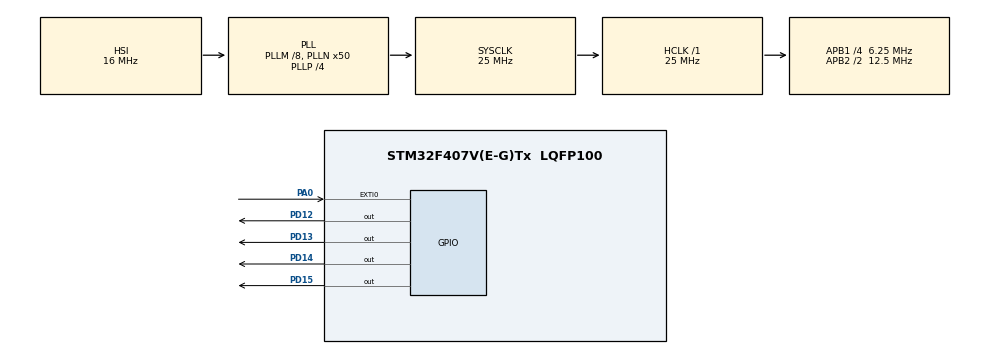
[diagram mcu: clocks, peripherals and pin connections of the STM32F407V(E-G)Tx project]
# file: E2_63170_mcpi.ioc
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Mcu.Family=STM32F4
RCC.CortexFreq_Value=25000000
RCC.APB1CLKDivider=RCC_HCLK_DIV4
RCC.SYSCLKSource=RCC_SYSCLKSOURCE_PLLCLK
ProjectManager.StackSize=0x400
PA0-WKUP.Signal=GPXTI0
VP_TIM7_VS_ClockSourceINT.Mode=Enable_Timer
PD13.Signal=GPIO_Output
ProjectManager.TargetToolchain=STM32CubeIDE
RCC.HCLKFreq_Value=25000000
RCC.APB2TimFreq_Value=25000000
TIM7.Period=4999
RCC.LSE_VALUE=32768
RCC.AHBFreq_Value=25000000
RCC.HSE_VALUE=8000000
TIM7.Prescaler=12499
board=STM32F407G-DISC1
RCC.VCOOutputFreq_Value=100000000
RCC.APB2Freq_Value=12500000
PD13.GPIO_PuPd=GPIO_NOPULL
PD14.GPIO_PuPd=GPIO_NOPULL
Mcu.Name=STM32F407V(E-G)Tx
PD14.Signal=GPIO_Output
RCC.48MHZClocksFreq_Value=14285714.285714285
NVIC.EXTI0_IRQn=true\:0\:0\:false\:false\:true\:true\:true
RCC.SYSCLKFreq_VALUE=25000000
Mcu.Package=LQFP100
PD12.Signal=GPIO_Output
PD15.GPIO_PuPd=GPIO_NOPULL
ProjectManager.HeapSize=0x200
TIM7.AutoReloadPreload=TIM_AUTORELOAD_PRELOAD_ENABLE
RCC.HSI_VALUE=16000000
RCC.PLLP=RCC_PLLP_DIV4
RCC.PLLQ=7
NVIC.PriorityGroup=NVIC_PRIORITYGROUP_0
RCC.APB2CLKDivider=RCC_HCLK_DIV2
RCC.PLLM=8
RCC.PLLN=50
RCC.APB1TimFreq_Value=12500000
RCC.APB1Freq_Value=6250000
PD15.Signal=GPIO_Output
NVIC.TIM7_IRQn=true\:0\:0\:false\:false\:true\:true\:true
PD12.GPIO_PuPd=GPIO_NOPULL

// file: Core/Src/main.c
/* USER CODE BEGIN Header */
/**
  ******************************************************************************
  * @file           : main.c
  * @brief          : Main program body
  ******************************************************************************
  * @attention
  *
  * <h2><center>&copy; Copyright (c) 2022 STMicroelectronics.
  * All rights reserved.</center></h2>
  *
  * This software component is licensed by ST under BSD 3-Clause license,
  * the "License"; You may not use this file except in compliance with the
  * License. You may obtain a copy of the License at:
  *                        opensource.org/licenses/BSD-3-Clause
  *
  ******************************************************************************
  */
/* USER CODE END Header */
#include "main.h"

/* USER CODE BEGIN Includes */
#include<stdio.h>
/* USER CODE END Includes */

TIM_HandleTypeDef htim7;

/* USER CODE BEGIN PV */
volatile int switch_flag = 0;
int counter=0;
/* USER CODE END PV */

void SystemClock_Config(void);
static void MX_GPIO_Init(void);
static void MX_TIM7_Init(void);

/* USER CODE BEGIN 0 */
void pattern1(void)
{
	do
	{
		HAL_GPIO_WritePin(GPIOD, GPIO_PIN_12, GPIO_PIN_SET);
		HAL_GPIO_WritePin(GPIOD, GPIO_PIN_13, GPIO_PIN_SET);
		HAL_GPIO_WritePin(GPIOD, GPIO_PIN_14, GPIO_PIN_SET);
		HAL_GPIO_WritePin(GPIOD, GPIO_PIN_15, GPIO_PIN_SET);

		HAL_Delay(1000);

		HAL_GPIO_WritePin(GPIOD, GPIO_PIN_12, GPIO_PIN_RESET);
		HAL_GPIO_WritePin(GPIOD, GPIO_PIN_13, GPIO_PIN_RESET);
		HAL_GPIO_WritePin(GPIOD, GPIO_PIN_14, GPIO_PIN_RESET);
		HAL_GPIO_WritePin(GPIOD, GPIO_PIN_15, GPIO_PIN_RESET);
	}while(counter !=1);
}

void pattern2(void)
{
	do
	{
		HAL_GPIO_WritePin(GPIOD, GPIO_PIN_15, GPIO_PIN_RESET);
		HAL_GPIO_WritePin(GPIOD, GPIO_PIN_12, GPIO_PIN_SET);
		HAL_Delay(1000);

		HAL_GPIO_WritePin(GPIOD, GPIO_PIN_12, GPIO_PIN_RESET);
		HAL_GPIO_WritePin(GPIOD, GPIO_PIN_13, GPIO_PIN_SET);
		HAL_Delay(1000);

		HAL_GPIO_WritePin(GPIOD, GPIO_PIN_13, GPIO_PIN_RESET);
		HAL_GPIO_WritePin(GPIOD, GPIO_PIN_14, GPIO_PIN_SET);

		HAL_Delay(1000);
		HAL_GPIO_WritePin(GPIOD, GPIO_PIN_14, GPIO_PIN_RESET);
		HAL_GPIO_WritePin(GPIOD, GPIO_PIN_15, GPIO_PIN_SET);

		HAL_Delay(1000);

	}while(counter !=2);

}

void pattern3(void)
{
	do
	{
		HAL_GPIO_WritePin(GPIOD, GPIO_PIN_12, GPIO_PIN_SET);
		HAL_GPIO_WritePin(GPIOD, GPIO_PIN_14, GPIO_PIN_SET);
		HAL_GPIO_WritePin(GPIOD, GPIO_PIN_13, GPIO_PIN_RESET);
		HAL_GPIO_WritePin(GPIOD, GPIO_PIN_15, GPIO_PIN_RESET);

		HAL_Delay(1000);

		HAL_GPIO_WritePin(GPIOD, GPIO_PIN_13, GPIO_PIN_SET);
		HAL_GPIO_WritePin(GPIOD, GPIO_PIN_15, GPIO_PIN_SET);
		HAL_GPIO_WritePin(GPIOD, GPIO_PIN_12, GPIO_PIN_RESET);
		HAL_GPIO_WritePin(GPIOD, GPIO_PIN_14, GPIO_PIN_RESET);

	}while(counter !=3);
}
/* USER CODE END 0 */

int main(void)
{

  /* MCU Configuration--------------------------------------------------------*/

  /* Reset of all peripherals, Initializes the Flash interface and the Systick. */
  HAL_Init();

  /* Configure the system clock */
  SystemClock_Config();

  /* Initialize all configured peripherals */
  MX_GPIO_Init();
  MX_TIM7_Init();

  /* Infinite loop */
  while (1)
    {

    /* USER CODE BEGIN 3 */

	  // Set All GPIO High / GLOW All Led
	  HAL_GPIO_WritePin(GPIOD, GPIO_PIN_12, GPIO_PIN_SET);
	  HAL_GPIO_WritePin(GPIOD, GPIO_PIN_13, GPIO_PIN_SET);
	  HAL_GPIO_WritePin(GPIOD, GPIO_PIN_14, GPIO_PIN_SET);
	  HAL_GPIO_WritePin(GPIOD, GPIO_PIN_15, GPIO_PIN_SET);

	  //if external interrupt call exit function.
	  if(switch_flag == 1)
	  {

		  for(int i=0;i<=4;i++)
		  {
			  HAL_GPIO_EXTI_Callback(GPIO_PIN_12);
			  HAL_GPIO_EXTI_Callback(GPIO_PIN_13);
			  HAL_GPIO_EXTI_Callback(GPIO_PIN_14);
			  HAL_GPIO_EXTI_Callback(GPIO_PIN_15);
		  }
		  // start timer

		  switch_flag =0;

	  }
    }
  /* USER CODE END 3 */
}

void SystemClock_Config(void)
{
  RCC_OscInitTypeDef RCC_OscInitStruct = {0};
  RCC_ClkInitTypeDef RCC_ClkInitStruct = {0};

  /** Configure the main internal regulator output voltage
  */
  __HAL_RCC_PWR_CLK_ENABLE();
  __HAL_PWR_VOLTAGESCALING_CONFIG(PWR_REGULATOR_VOLTAGE_SCALE1);
  /** Initializes the RCC Oscillators according to the specified parameters
  * in the RCC_OscInitTypeDef structure.
  */
  RCC_OscInitStruct.OscillatorType = RCC_OSCILLATORTYPE_HSI;
  RCC_OscInitStruct.HSIState = RCC_HSI_ON;
  RCC_OscInitStruct.HSICalibrationValue = RCC_HSICALIBRATION_DEFAULT;
  RCC_OscInitStruct.PLL.PLLState = RCC_PLL_ON;
  RCC_OscInitStruct.PLL.PLLSource = RCC_PLLSOURCE_HSI;
  RCC_OscInitStruct.PLL.PLLM = 8;
  RCC_OscInitStruct.PLL.PLLN = 50;
  RCC_OscInitStruct.PLL.PLLP = RCC_PLLP_DIV4;
  RCC_OscInitStruct.PLL.PLLQ = 7;
  if (HAL_RCC_OscConfig(&RCC_OscInitStruct) != HAL_OK)
  {
    Error_Handler();
  }
  /** Initializes the CPU, AHB and APB buses clocks
  */
  RCC_ClkInitStruct.ClockType = RCC_CLOCKTYPE_HCLK|RCC_CLOCKTYPE_SYSCLK
                              |RCC_CLOCKTYPE_PCLK1|RCC_CLOCKTYPE_PCLK2;
  RCC_ClkInitStruct.SYSCLKSource = RCC_SYSCLKSOURCE_PLLCLK;
  RCC_ClkInitStruct.AHBCLKDivider = RCC_SYSCLK_DIV1;
  RCC_ClkInitStruct.APB1CLKDivider = RCC_HCLK_DIV4;
  RCC_ClkInitStruct.APB2CLKDivider = RCC_HCLK_DIV2;

  if (HAL_RCC_ClockConfig(&RCC_ClkInitStruct, FLASH_LATENCY_0) != HAL_OK)
  {
    Error_Handler();
  }
}

static void MX_TIM7_Init(void)
{

  TIM_MasterConfigTypeDef sMasterConfig = {0};

  htim7.Instance = TIM7;
  htim7.Init.Prescaler = 12499;
  htim7.Init.CounterMode = TIM_COUNTERMODE_UP;
  htim7.Init.Period = 4999;
  htim7.Init.AutoReloadPreload = TIM_AUTORELOAD_PRELOAD_ENABLE;
  if (HAL_TIM_Base_Init(&htim7) != HAL_OK)
  {
    Error_Handler();
  }
  sMasterConfig.MasterOutputTrigger = TIM_TRGO_RESET;
  sMasterConfig.MasterSlaveMode = TIM_MASTERSLAVEMODE_DISABLE;
  if (HAL_TIMEx_MasterConfigSynchronization(&htim7, &sMasterConfig) != HAL_OK)
  {
    Error_Handler();
  }

}

static void MX_GPIO_Init(void)
{
  GPIO_InitTypeDef GPIO_InitStruct = {0};

  /* GPIO Ports Clock Enable */
  __HAL_RCC_GPIOA_CLK_ENABLE();
  __HAL_RCC_GPIOD_CLK_ENABLE();

  /*Configure GPIO pin Output Level */
  HAL_GPIO_WritePin(GPIOD, GPIO_PIN_12|GPIO_PIN_13|GPIO_PIN_14|GPIO_PIN_15, GPIO_PIN_RESET);

  /*Configure GPIO pin : PA0 */
  GPIO_InitStruct.Pin = GPIO_PIN_0;
  GPIO_InitStruct.Mode = GPIO_MODE_IT_RISING;
  GPIO_InitStruct.Pull = GPIO_NOPULL;
  HAL_GPIO_Init(GPIOA, &GPIO_InitStruct);

  /*Configure GPIO pins : PD12 PD13 PD14 PD15 */
  GPIO_InitStruct.Pin = GPIO_PIN_12|GPIO_PIN_13|GPIO_PIN_14|GPIO_PIN_15;
  GPIO_InitStruct.Mode = GPIO_MODE_OUTPUT_PP;
  GPIO_InitStruct.Pull = GPIO_NOPULL;
  GPIO_InitStruct.Speed = GPIO_SPEED_FREQ_LOW;
  HAL_GPIO_Init(GPIOD, &GPIO_InitStruct);

  /* EXTI interrupt init*/
  HAL_NVIC_SetPriority(EXTI0_IRQn, 0, 0);
  HAL_NVIC_EnableIRQ(EXTI0_IRQn);

}

/* USER CODE BEGIN 4 */
void HAL_GPIO_EXTI_Callback(uint16_t GPIO_Pin)
{
	// exit callback function
	HAL_TIM_Base_Start_IT(&htim7);
	HAL_GPIO_WritePin(GPIOD, GPIO_Pin, GPIO_PIN_RESET);
	switch_flag =1;

}
void HAL_TIM_PeriodElapsedCallback(TIM_HandleTypeDef *htim)
{
	//timer callback function
	counter++;

	if(counter ==1)
	{
		pattern1();

	}
	else if(counter ==2)
	{
		pattern2();
	}
	else if(counter ==3)
	{
		pattern3();
	}

}
/* USER CODE END 4 */

void Error_Handler(void)
{
  __disable_irq();
  while (1)
  {
  }
}

/*
 * quetion
 * a.glow all leds
 * b. on ext int clear all start tim7 int
 * c. 1st timer int pattern 1
 * d. 2nd timer int pattern 2
 * e.  3rd timer int pattern 3
 * f. repeat above pattern on next tim int
 *
 */
/************************ (C) COPYRIGHT STMicroelectronics *****END OF FILE****/
